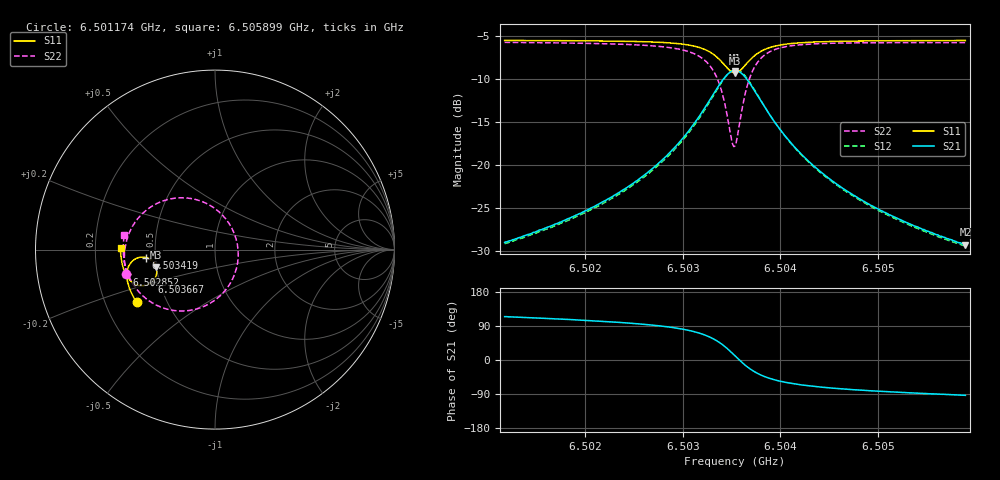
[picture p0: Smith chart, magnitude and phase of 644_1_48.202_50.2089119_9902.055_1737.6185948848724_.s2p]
#  HZ  S  RI  R  50.00
! Rohde & Schwarz Vector Network Analyzer
! Rohde-Schwarz,ZNB20-2Port,1311601062101988,3.16
! Created: UTC 3/20/2024, 12:04:56 PM
! freq[Hz]  re:S11  im:S11  re:S21  im:S21  re:S12  im:S12  re:S22  im:S22
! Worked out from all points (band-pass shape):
!   401 points, 6.501174 GHz to 6.505899 GHz, reference 50 ohm
!   highest |S21| = -9.06 dB at 6.503537 GHz (marker M1); lowest = -29.2 dB at 6.505899 GHz (marker M2)
!   |S21| within 3 dB of the highest: 6.503301 GHz to 6.503774 GHz (472.6 kHz wide, 0.00727 % of centre)
!   lowest |S11| = -9.3 dB at 6.503537 GHz (marker M3), VSWR 2.04, Z = 24.9 - j5.55 ohm
!   |S11| at or under -10 dB: nowhere
!   |S22| runs from -17.9 to -5.8 dB; largest |S21 - S12| = 0.013
!   S11 on the Smith chart (normalised r, x): 6.501174 GHz: 0.34, -0.27; 6.502852 GHz: 0.33, -0.12; 6.503419 GHz: 0.44, -0.05; 6.503667 GHz: 0.46, -0.19; 6.505899 GHz: 0.31, +0.01
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6.5011744e9  -0.4369 -0.294  -0.0147 0.0324  -0.0129 0.0325  -0.4952 -0.1353
6.5019658e9  -0.4694 -0.2335  -0.0137 0.0512  -0.0111 0.0507  -0.505 -0.0476
6.502391e9  -0.4836 -0.1943  -0.0105 0.071  -0.00737 0.0698  -0.4999 0.0162
6.5027571e9  -0.4911 -0.152  -0.00039 0.103  0.00344 0.1003  -0.4773 0.0945
6.5028516e9  -0.4912 -0.1384  0.0055 0.1155  0.00943 0.1122  -0.4644 0.1213
6.5030524e9  -0.4855 -0.1038  0.0303 0.1519  0.0343 0.1471  -0.4126 0.1921
6.5031942e9  -0.469 -0.0734  0.072 0.1872  0.075 0.1808  -0.3326 0.2523
6.5033241e9  -0.4314 -0.0464  0.1519 0.2134  0.1528 0.2069  -0.1871 0.2888
6.5034186e9  -0.383 -0.0441  0.2467 0.1957  0.2473 0.1908  -0.0227 0.2434
6.5035013e9  -0.3384 -0.0752  0.3279 0.118  0.3309 0.1134  0.1073 0.09
6.5035367e9  -0.3271 -0.0983  0.346 0.0672  0.3504 0.0612  0.1287 -0.00561
6.5035603e9  -0.3241 -0.1152  0.3495 0.0313  0.3541 0.0238  0.1263 -0.0718
6.5035957e9  -0.3264 -0.1405  0.3417 -0.021  0.3459 -0.0308  0.0975 -0.1647
6.5036666e9  -0.3497 -0.1794  0.2928 -0.1003  0.2929 -0.1129  -0.0179 -0.2932
6.5037611e9  -0.3922 -0.2  0.2112 -0.145  0.2059 -0.1562  -0.1841 -0.342
6.503832e9  -0.4192 -0.2  0.1615 -0.1502  0.1546 -0.1589  -0.2771 -0.3288
6.5039147e9  -0.4431 -0.1928  0.1196 -0.1438  0.1118 -0.15  -0.3508 -0.296
6.50408e9  -0.4731 -0.1715  0.0699 -0.1219  0.0628 -0.1248  -0.4317 -0.2265
6.5043281e9  -0.4959 -0.14  0.0357 -0.094  0.0305 -0.0947  -0.481 -0.1466
6.5046942e9  -0.512 -0.1003  0.0155 -0.0684  0.0118 -0.0681  -0.5048 -0.0679
6.5051194e9  -0.521 -0.0601  0.00555 -0.0511  0.00308 -0.0506  -0.5113 -0.00416
6.505899e9  -0.5263 0.00702  -0.00197 -0.0344  -0.00339 -0.0337  -0.5046 0.0821
